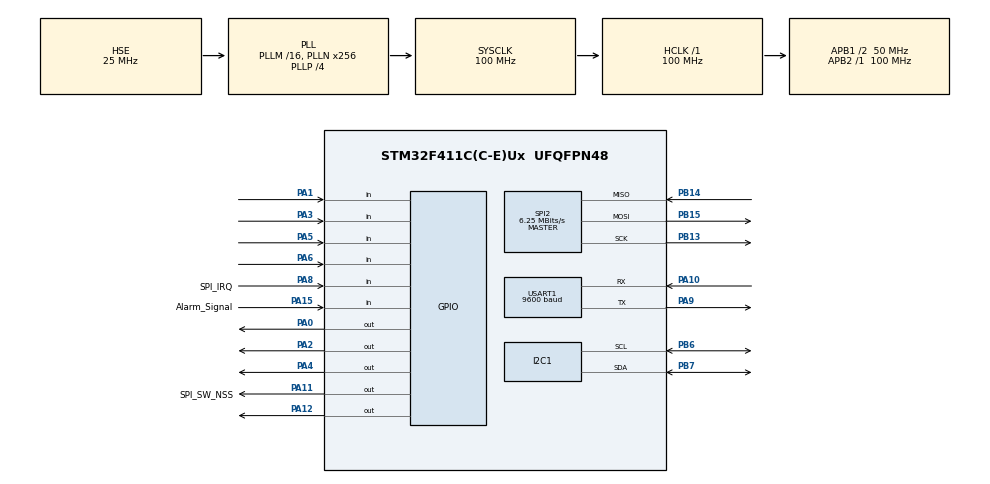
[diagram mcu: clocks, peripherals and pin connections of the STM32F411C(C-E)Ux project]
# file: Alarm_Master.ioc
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Mcu.Family=STM32F4
Mcu.Name=STM32F411C(C-E)Ux
Mcu.Package=UFQFPN48
NVIC.PriorityGroup=NVIC_PRIORITYGROUP_4
NVIC.USART1_IRQn=true\:0\:0\:false\:false\:true\:true\:true\:true
PA0-WKUP.GPIO_Speed=GPIO_SPEED_FREQ_VERY_HIGH
PA0-WKUP.PinState=GPIO_PIN_RESET
PA0-WKUP.Signal=GPIO_Output
PA1.GPIO_PuPd=GPIO_PULLDOWN
PA1.Signal=GPIO_Input
PA10.Mode=Asynchronous
PA10.Signal=USART1_RX
PA11.GPIO_Label=SPI_SW_NSS
PA11.PinState=GPIO_PIN_SET
PA11.Signal=GPIO_Output
PA12.Signal=GPIO_Output
PA13.Mode=Serial_Wire
PA13.Signal=SYS_JTMS-SWDIO
PA14.Mode=Serial_Wire
PA14.Signal=SYS_JTCK-SWCLK
PA15.GPIO_Label=Alarm_Signal
PA15.GPIO_PuPd=GPIO_PULLUP
PA15.Signal=GPIO_Input
PA2.GPIO_Speed=GPIO_SPEED_FREQ_VERY_HIGH
PA2.PinState=GPIO_PIN_RESET
PA2.Signal=GPIO_Output
PA3.GPIO_PuPd=GPIO_PULLDOWN
PA3.Signal=GPIO_Input
PA4.GPIO_Speed=GPIO_SPEED_FREQ_VERY_HIGH
PA4.PinState=GPIO_PIN_RESET
PA4.Signal=GPIO_Output
PA5.GPIO_PuPd=GPIO_PULLDOWN
PA5.Signal=GPIO_Input
PA6.GPIO_PuPd=GPIO_PULLDOWN
PA6.Signal=GPIO_Input
PA8.GPIO_Label=SPI_IRQ
PA8.Signal=GPIO_Input
PA9.Mode=Asynchronous
PA9.Signal=USART1_TX
PB13.Mode=Full_Duplex_Master
PB13.Signal=SPI2_SCK
PB14.Mode=Full_Duplex_Master
PB14.Signal=SPI2_MISO
PB15.Mode=Full_Duplex_Master
PB15.Signal=SPI2_MOSI
PB6.Mode=I2C
PB6.Signal=I2C1_SCL
PB7.Mode=I2C
PB7.Signal=I2C1_SDA
PH0\ -\ OSC_IN.Mode=HSE-External-Oscillator
PH0\ -\ OSC_IN.Signal=RCC_OSC_IN
PH1\ -\ OSC_OUT.Mode=HSE-External-Oscillator
PH1\ -\ OSC_OUT.Signal=RCC_OSC_OUT
ProjectManager.HeapSize=0x200
ProjectManager.StackSize=0x400
ProjectManager.TargetToolchain=STM32CubeIDE
RCC.48MHZClocksFreq_Value=100000000
RCC.AHBFreq_Value=100000000
RCC.APB1CLKDivider=RCC_HCLK_DIV2
RCC.APB1Freq_Value=50000000
RCC.APB1TimFreq_Value=100000000
RCC.APB2Freq_Value=100000000
RCC.APB2TimFreq_Value=100000000
RCC.CortexFreq_Value=100000000
RCC.HCLKFreq_Value=100000000
RCC.HSE_VALUE=25000000
RCC.HSI_VALUE=16000000
RCC.LSE_VALUE=32768
RCC.PLLN=256
RCC.PLLP=RCC_PLLP_DIV4
RCC.PLLSourceVirtual=RCC_PLLSOURCE_HSE
RCC.SYSCLKFreq_VALUE=100000000
RCC.SYSCLKSource=RCC_SYSCLKSOURCE_PLLCLK
RCC.VCOOutputFreq_Value=400000000
SPI2.BaudRatePrescaler=SPI_BAUDRATEPRESCALER_8
SPI2.CalculateBaudRate=6.25 MBits/s
SPI2.Direction=SPI_DIRECTION_2LINES
SPI2.Mode=SPI_MODE_MASTER
SPI2.VirtualType=VM_MASTER
USART1.BaudRate=9600
USART1.Mode=MODE_TX_RX
USART1.VirtualMode=VM_ASYNC
board=custom

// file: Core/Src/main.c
/* USER CODE BEGIN Header */
/**
  ******************************************************************************
  * @file           : main.c
  * @brief          : Main program body
  ******************************************************************************
  * @attention
  *
  * Copyright (c) 2025 STMicroelectronics.
  * All rights reserved.
  *
  * This software is licensed under terms that can be found in the LICENSE file
  * in the root directory of this software component.
  * If no LICENSE file comes with this software, it is provided AS-IS.
  *
  ******************************************************************************
  */
/* USER CODE END Header */
#include "main.h"

/* USER CODE BEGIN Includes */
#include <stdio.h>
#include <stdbool.h>
#include <string.h>

#include "keyboard.h"
#include "lcd_driver.h"
#include "state_machine.h"
#include "flash_interface.h"
#include "sim800l_driver.h"
#include "expander.h"

/* USER CODE END Includes */

I2C_HandleTypeDef hi2c1;

SPI_HandleTypeDef hspi2;

UART_HandleTypeDef huart1;

void SystemClock_Config(void);
static void MX_GPIO_Init(void);
static void MX_I2C1_Init(void);
static void MX_SPI2_Init(void);
static void MX_USART1_UART_Init(void);

/* USER CODE BEGIN 0 */

alarm_state state = DISARMED;

/* USER CODE END 0 */

int main(void)
{

  /* MCU Configuration--------------------------------------------------------*/

  /* Reset of all peripherals, Initializes the Flash interface and the Systick. */
  HAL_Init();

  /* Configure the system clock */
  SystemClock_Config();

  /* Initialize all configured peripherals */
  MX_GPIO_Init();
  MX_I2C1_Init();
  MX_SPI2_Init();
  MX_USART1_UART_Init();
  /* USER CODE BEGIN 2 */

  //INIT WRITE next 4 lines
//  HAL_Delay(1000);
//  char data_in[65] = "************************************************1235****120*****";
//  flash_write_erase_sector7();
//  flash_write_multiple_word(0x08060000, (uint32_t *)data_in, 16);

  //READOUT
  {
	char data_out[72];
	flash_read_multiple_words(0x08060000, (uint32_t *)data_out, 18);
	//PARSING TO VARIABLES
	state_machine_init(data_out);
	lcd_init(&hi2c1);
	gsm_init(&huart1);
	mcp_init(&hi2c1);
  }

  /* USER CODE END 2 */

  /* Infinite loop */
  /* USER CODE BEGIN WHILE */
  while (1)
  {
	HAL_Delay(10);
	static char x;
	x = check_keyboard();
	if(x){
	  if(x < 10) x += '0';
	  else if(x == 10) x = '*';
	  else if(x == 11) x = '0';
	  else if(x == 12) x = '#';
	}
	state_machine_run(x);

    /* USER CODE END WHILE */

  }
}

void SystemClock_Config(void)
{
  RCC_OscInitTypeDef RCC_OscInitStruct = {0};
  RCC_ClkInitTypeDef RCC_ClkInitStruct = {0};

  /** Configure the main internal regulator output voltage
  */
  __HAL_RCC_PWR_CLK_ENABLE();
  __HAL_PWR_VOLTAGESCALING_CONFIG(PWR_REGULATOR_VOLTAGE_SCALE1);

  /** Initializes the RCC Oscillators according to the specified parameters
  * in the RCC_OscInitTypeDef structure.
  */
  RCC_OscInitStruct.OscillatorType = RCC_OSCILLATORTYPE_HSE;
  RCC_OscInitStruct.HSEState = RCC_HSE_ON;
  RCC_OscInitStruct.PLL.PLLState = RCC_PLL_ON;
  RCC_OscInitStruct.PLL.PLLSource = RCC_PLLSOURCE_HSE;
  RCC_OscInitStruct.PLL.PLLM = 16;
  RCC_OscInitStruct.PLL.PLLN = 256;
  RCC_OscInitStruct.PLL.PLLP = RCC_PLLP_DIV4;
  RCC_OscInitStruct.PLL.PLLQ = 4;
  if (HAL_RCC_OscConfig(&RCC_OscInitStruct) != HAL_OK)
  {
    Error_Handler();
  }

  /** Initializes the CPU, AHB and APB buses clocks
  */
  RCC_ClkInitStruct.ClockType = RCC_CLOCKTYPE_HCLK|RCC_CLOCKTYPE_SYSCLK
                              |RCC_CLOCKTYPE_PCLK1|RCC_CLOCKTYPE_PCLK2;
  RCC_ClkInitStruct.SYSCLKSource = RCC_SYSCLKSOURCE_PLLCLK;
  RCC_ClkInitStruct.AHBCLKDivider = RCC_SYSCLK_DIV1;
  RCC_ClkInitStruct.APB1CLKDivider = RCC_HCLK_DIV2;
  RCC_ClkInitStruct.APB2CLKDivider = RCC_HCLK_DIV1;

  if (HAL_RCC_ClockConfig(&RCC_ClkInitStruct, FLASH_LATENCY_3) != HAL_OK)
  {
    Error_Handler();
  }
}

static void MX_I2C1_Init(void)
{

  hi2c1.Instance = I2C1;
  hi2c1.Init.ClockSpeed = 100000;
  hi2c1.Init.DutyCycle = I2C_DUTYCYCLE_2;
  hi2c1.Init.OwnAddress1 = 0;
  hi2c1.Init.AddressingMode = I2C_ADDRESSINGMODE_7BIT;
  hi2c1.Init.DualAddressMode = I2C_DUALADDRESS_DISABLE;
  hi2c1.Init.OwnAddress2 = 0;
  hi2c1.Init.GeneralCallMode = I2C_GENERALCALL_DISABLE;
  hi2c1.Init.NoStretchMode = I2C_NOSTRETCH_DISABLE;
  if (HAL_I2C_Init(&hi2c1) != HAL_OK)
  {
    Error_Handler();
  }

}

static void MX_SPI2_Init(void)
{

  /* SPI2 parameter configuration*/
  hspi2.Instance = SPI2;
  hspi2.Init.Mode = SPI_MODE_MASTER;
  hspi2.Init.Direction = SPI_DIRECTION_2LINES;
  hspi2.Init.DataSize = SPI_DATASIZE_8BIT;
  hspi2.Init.CLKPolarity = SPI_POLARITY_LOW;
  hspi2.Init.CLKPhase = SPI_PHASE_1EDGE;
  hspi2.Init.NSS = SPI_NSS_SOFT;
  hspi2.Init.BaudRatePrescaler = SPI_BAUDRATEPRESCALER_8;
  hspi2.Init.FirstBit = SPI_FIRSTBIT_MSB;
  hspi2.Init.TIMode = SPI_TIMODE_DISABLE;
  hspi2.Init.CRCCalculation = SPI_CRCCALCULATION_DISABLE;
  hspi2.Init.CRCPolynomial = 10;
  if (HAL_SPI_Init(&hspi2) != HAL_OK)
  {
    Error_Handler();
  }

}

static void MX_USART1_UART_Init(void)
{

  huart1.Instance = USART1;
  huart1.Init.BaudRate = 9600;
  huart1.Init.WordLength = UART_WORDLENGTH_8B;
  huart1.Init.StopBits = UART_STOPBITS_1;
  huart1.Init.Parity = UART_PARITY_NONE;
  huart1.Init.Mode = UART_MODE_TX_RX;
  huart1.Init.HwFlowCtl = UART_HWCONTROL_NONE;
  huart1.Init.OverSampling = UART_OVERSAMPLING_16;
  if (HAL_UART_Init(&huart1) != HAL_OK)
  {
    Error_Handler();
  }

}

static void MX_GPIO_Init(void)
{
  GPIO_InitTypeDef GPIO_InitStruct = {0};

  /* GPIO Ports Clock Enable */
  __HAL_RCC_GPIOH_CLK_ENABLE();
  __HAL_RCC_GPIOA_CLK_ENABLE();
  __HAL_RCC_GPIOB_CLK_ENABLE();

  /*Configure GPIO pin Output Level */
  HAL_GPIO_WritePin(GPIOA, GPIO_PIN_0|GPIO_PIN_2|GPIO_PIN_4|GPIO_PIN_12, GPIO_PIN_RESET);

  /*Configure GPIO pin Output Level */
  HAL_GPIO_WritePin(SPI_SW_NSS_GPIO_Port, SPI_SW_NSS_Pin, GPIO_PIN_SET);

  /*Configure GPIO pins : PA0 PA2 PA4 */
  GPIO_InitStruct.Pin = GPIO_PIN_0|GPIO_PIN_2|GPIO_PIN_4;
  GPIO_InitStruct.Mode = GPIO_MODE_OUTPUT_PP;
  GPIO_InitStruct.Pull = GPIO_NOPULL;
  GPIO_InitStruct.Speed = GPIO_SPEED_FREQ_VERY_HIGH;
  HAL_GPIO_Init(GPIOA, &GPIO_InitStruct);

  /*Configure GPIO pins : PA1 PA3 PA5 PA6 */
  GPIO_InitStruct.Pin = GPIO_PIN_1|GPIO_PIN_3|GPIO_PIN_5|GPIO_PIN_6;
  GPIO_InitStruct.Mode = GPIO_MODE_INPUT;
  GPIO_InitStruct.Pull = GPIO_PULLDOWN;
  HAL_GPIO_Init(GPIOA, &GPIO_InitStruct);

  /*Configure GPIO pin : SPI_IRQ_Pin */
  GPIO_InitStruct.Pin = SPI_IRQ_Pin;
  GPIO_InitStruct.Mode = GPIO_MODE_INPUT;
  GPIO_InitStruct.Pull = GPIO_NOPULL;
  HAL_GPIO_Init(SPI_IRQ_GPIO_Port, &GPIO_InitStruct);

  /*Configure GPIO pins : SPI_SW_NSS_Pin PA12 */
  GPIO_InitStruct.Pin = SPI_SW_NSS_Pin|GPIO_PIN_12;
  GPIO_InitStruct.Mode = GPIO_MODE_OUTPUT_PP;
  GPIO_InitStruct.Pull = GPIO_NOPULL;
  GPIO_InitStruct.Speed = GPIO_SPEED_FREQ_LOW;
  HAL_GPIO_Init(GPIOA, &GPIO_InitStruct);

  /*Configure GPIO pin : Alarm_Signal_Pin */
  GPIO_InitStruct.Pin = Alarm_Signal_Pin;
  GPIO_InitStruct.Mode = GPIO_MODE_INPUT;
  GPIO_InitStruct.Pull = GPIO_PULLUP;
  HAL_GPIO_Init(Alarm_Signal_GPIO_Port, &GPIO_InitStruct);

}

/* USER CODE BEGIN 4 */
int _write(int file, char *ptr, int len)
{
  (void)file;
  int DataIdx;

  for (DataIdx = 0; DataIdx < len; DataIdx++)
  {
    ITM_SendChar(*ptr++);
  }
  return len;
}
/* USER CODE END 4 */

void Error_Handler(void)
{
  __disable_irq();
  while (1)
  {
  }
}
